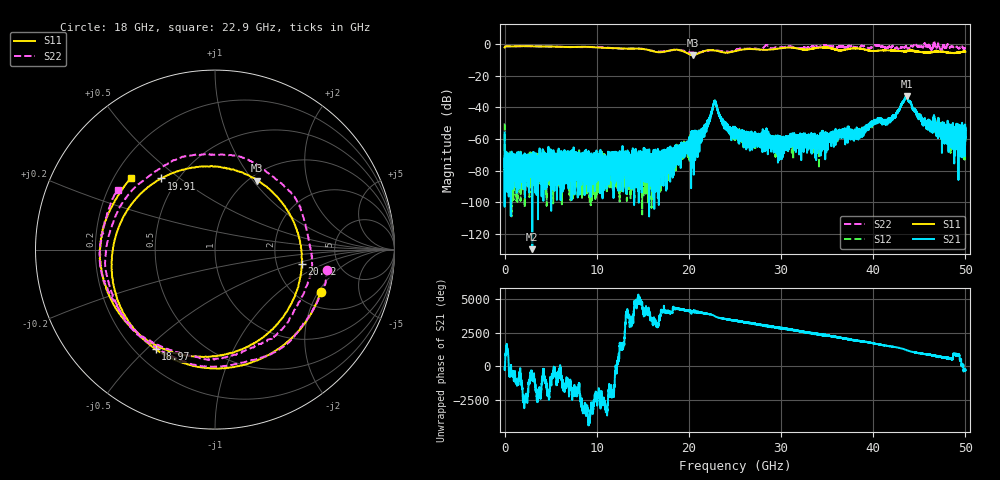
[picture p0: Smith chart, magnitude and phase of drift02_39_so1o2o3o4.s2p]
!Created with skrf (http://scikit-rf.org).
# Hz S RI R 50.0
!freq ReS11 ImS11 ReS21 ImS21 ReS12 ImS12 ReS22 ImS22
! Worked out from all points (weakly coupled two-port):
!   10001 points, 300 kHz to 50 GHz, reference 50 ohm
!   highest |S21| = -32.91 dB at 43.64 GHz (marker M1); lowest = -129.7 dB at 3.005 GHz (marker M2)
!   lowest |S11| = -6.9 dB at 20.41 GHz (marker M3), VSWR 2.64, Z = 54.4 + j52.5 ohm
!   |S11| at or under -10 dB: nowhere
!   |S22| runs from -5.7 to 2.3 dB; largest |S21 - S12| = 0.0046
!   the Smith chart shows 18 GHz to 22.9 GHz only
!   S11 on the Smith chart (normalised r, x): 18 GHz: 2.67, -2.09; 18.97 GHz: 0.28, -0.53; 19.91 GHz: 0.41, +0.43; 20.92 GHz: 2.78, -0.58; 22.9 GHz: 0.27, +0.35
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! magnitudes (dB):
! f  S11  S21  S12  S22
! 300 kHz  -2.1  -55.8  -50.2  -2.1
! 265.3 MHz  -1.4  -77.6  -78.3  -1.4
! 3.005 GHz  -1.4  -129.7  -81.9  -1.4
! 8.335 GHz  -1.7  -78.5  -80.7  -1.9
! 16.67 GHz  -5.2  -69.4  -73.5  -4.7
! 18 GHz  -4.0  -69.0  -69.3  -4.0
! 18.97 GHz  -3.8  -63.8  -68.8  -3.9
! 19.91 GHz  -6.1  -65.9  -63.3  -5.2
! 20.41 GHz  -6.9  -60.9  -71.5  -5.4
! 20.92 GHz  -6.2  -58.4  -58.7  -5.6
! 22.9 GHz  -4.2  -37.1  -36.8  -3.9
! 23.74 GHz  -5.3  -49.9  -50.4  -4.7
! 25 GHz  -4.5  -53.9  -56.8  -3.9
! 29.59 GHz  -3.0  -59.7  -59.2  -2.1
! 33.34 GHz  -3.0  -68.0  -60.8  -1.6
! 38.19 GHz  -2.8  -56.5  -55.5  -2.3
! 40.36 GHz  -4.3  -48.4  -48.6  -0.9
! 41.67 GHz  -4.0  -47.6  -48.2  -1.9
! 43.64 GHz  -4.4  -32.9  -33.6  -1.9
! 45.69 GHz  -5.4  -50.0  -49.2  -0.6
! 48.59 GHz  -5.7  -54.5  -58.9  -1.5
! 50 GHz  -4.8  -60.5  -53.5  -2.7
